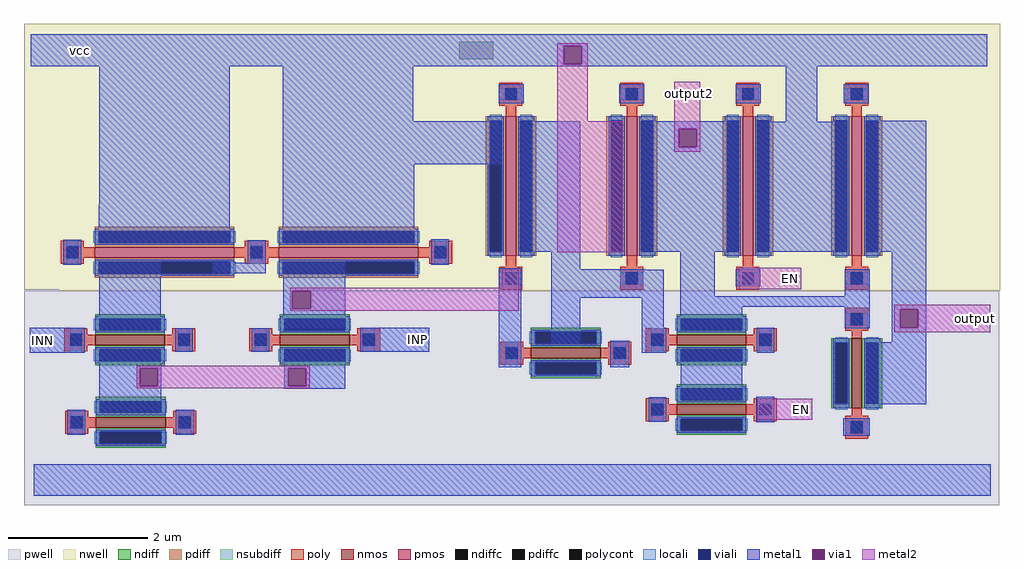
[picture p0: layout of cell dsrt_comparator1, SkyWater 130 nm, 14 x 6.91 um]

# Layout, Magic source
magic
tech sky130A
magscale 1 2
<< nwell >>
rect -136 -1106 2664 -342
rect -34 -1108 2664 -1106
<< pwell >>
rect -136 -1724 2662 -1108
<< nsubdiff >>
rect 1112 -444 1210 -394
<< metal1 >>
rect -116 -406 2628 -372
rect -116 -458 1412 -406
rect 1464 -458 2628 -406
rect -116 -464 2628 -458
rect 80 -862 454 -464
rect -24 -1034 28 -962
rect 78 -970 454 -862
rect 606 -622 980 -464
rect 1226 -570 1298 -516
rect 1572 -570 1644 -516
rect 1906 -570 1978 -516
rect 606 -746 1236 -622
rect -120 -1286 38 -1214
rect 80 -1220 256 -1026
rect 506 -1028 558 -964
rect 606 -970 984 -746
rect 606 -974 980 -970
rect 406 -1058 558 -1028
rect 608 -1108 786 -1026
rect 1032 -1034 1082 -960
rect 1288 -996 1460 -622
rect 1634 -644 1914 -622
rect 2050 -624 2140 -464
rect 2216 -570 2288 -516
rect 1634 -696 1742 -644
rect 1794 -696 1914 -644
rect 1634 -996 1914 -696
rect 1968 -996 2228 -624
rect 2282 -996 2452 -620
rect 608 -1160 634 -1108
rect 686 -1160 786 -1108
rect 80 -1330 258 -1274
rect 298 -1284 348 -1216
rect 518 -1284 568 -1216
rect 608 -1218 786 -1160
rect 80 -1382 196 -1330
rect 248 -1382 258 -1330
rect -12 -1522 40 -1450
rect 80 -1460 258 -1382
rect 610 -1330 786 -1278
rect 828 -1284 1026 -1214
rect 1226 -1328 1290 -1044
rect 1376 -1046 1460 -996
rect 1376 -1048 1646 -1046
rect 1376 -1128 1700 -1048
rect 1376 -1264 1460 -1128
rect 1636 -1214 1700 -1128
rect 1746 -1124 1846 -996
rect 1906 -1096 1976 -1046
rect 2218 -1124 2290 -1046
rect 1746 -1154 2290 -1124
rect 1546 -1328 1600 -1252
rect 1636 -1286 1706 -1214
rect 1746 -1222 1924 -1154
rect 610 -1382 622 -1330
rect 674 -1382 786 -1330
rect 610 -1390 786 -1382
rect 300 -1522 352 -1450
rect 1656 -1484 1706 -1414
rect 1748 -1422 1924 -1276
rect 1966 -1286 2016 -1214
rect 2218 -1216 2290 -1154
rect 2354 -1162 2452 -996
rect 2354 -1214 2378 -1162
rect 2430 -1214 2452 -1162
rect 2354 -1256 2452 -1214
rect 1964 -1486 2016 -1412
rect 2280 -1434 2452 -1256
rect 2214 -1524 2290 -1474
rect -108 -1696 2638 -1606
<< via1 >>
rect 1412 -458 1464 -406
rect 1742 -696 1794 -644
rect 634 -1160 686 -1108
rect 196 -1382 248 -1330
rect 622 -1382 674 -1330
rect 2378 -1214 2430 -1162
<< metal2 >>
rect 1394 -406 1482 -398
rect 1394 -458 1412 -406
rect 1464 -458 1482 -406
rect 1394 -622 1482 -458
rect 1394 -998 1582 -622
rect 1730 -644 1804 -508
rect 1730 -696 1742 -644
rect 1794 -696 1804 -644
rect 1730 -710 1804 -696
rect 1236 -1100 1284 -1048
rect 628 -1108 1284 -1100
rect 1914 -1104 2094 -1042
rect 628 -1160 634 -1108
rect 686 -1160 1284 -1108
rect 628 -1166 1284 -1160
rect 2360 -1162 2636 -1148
rect 2360 -1214 2378 -1162
rect 2430 -1214 2636 -1162
rect 2360 -1228 2636 -1214
rect 188 -1330 684 -1324
rect 188 -1382 196 -1330
rect 248 -1382 622 -1330
rect 674 -1382 684 -1330
rect 188 -1388 684 -1382
rect 1968 -1478 2126 -1418
use sky130_fd_pr__nfet_01v8_Y5M242  XM1
transform 0 1 168 -1 0 -1249
box -73 -188 73 188
use sky130_fd_pr__nfet_01v8_Y5M242  XM2
transform 0 1 698 -1 0 -1249
box -73 -188 73 188
use sky130_fd_pr__pfet_01v8_YR6QPW  XM3
transform 0 1 795 -1 0 -998
box -109 -300 109 300
use sky130_fd_pr__pfet_01v8_YR6QPW  XM4
transform 0 -1 267 1 0 -998
box -109 -300 109 300
use sky130_fd_pr__nfet_01v8_Y5M242  XM5
transform 0 1 170 1 0 -1486
box -73 -188 73 188
use sky130_fd_pr__pfet_01v8_YR6QPW  XM6
transform 1 0 1261 0 1 -808
box -109 -300 109 300
use sky130_fd_pr__nfet_01v8_Y5M242  XM7
transform 0 1 1418 -1 0 -1287
box -73 -188 73 188
use sky130_fd_pr__pfet_01v8_YR6QPW  XM8
transform 1 0 1608 0 1 -808
box -109 -300 109 300
use sky130_fd_pr__nfet_01v8_Y5M242  XM9
transform 0 1 1836 -1 0 -1249
box -73 -188 73 188
use sky130_fd_pr__pfet_01v8_YR6QPW  XM10
transform 1 0 2253 0 1 -808
box -109 -300 109 300
use sky130_fd_pr__nfet_01v8_Y5M242  XM11
transform 1 0 2253 0 1 -1345
box -73 -188 73 188
use sky130_fd_pr__pfet_01v8_YR6QPW  XM12
transform 1 0 1941 0 1 -808
box -109 -300 109 300
use sky130_fd_pr__nfet_01v8_Y5M242  XM13
transform 0 1 1836 -1 0 -1449
box -73 -188 73 188
<< labels >>
rlabel metal1 -110 -1276 -58 -1224 1 INN
port 1 n signal input
rlabel metal1 966 -1274 1018 -1222 1 INP
port 2 n signal input
rlabel metal1 0 -444 52 -392 1 vcc
port 3 n power bidirectional
rlabel metal2 2568 -1214 2620 -1162 1 output
port 4 n signal output
rlabel metal2 1746 -568 1798 -516 1 output2
port 5 n signal output
rlabel metal2 2036 -1100 2088 -1048 1 EN
port 6 n signal input
rlabel metal2 2068 -1474 2120 -1422 1 EN
port 6 n signal input
<< end >>

# cell sky130_fd_pr__nfet_01v8_Y5M242: kit device sky130_fd_pr__nfet_01v8, w 1.0 l 0.15 m 1 nf 1 diffcov 100 polycov 100 guard 0 glc 1 grc 1 gtc 1 gbc 1 tbcov 100 rlcov 100 topc 1 botc 1 poverlap 0 doverlap 1 lmin 0.15 wmin 0.42 class mosfet compatible {sky130_fd_pr__nfet_01v8 sky130_fd_pr__nfet_01v8_lvt sky130_fd_bs_flash__special_sonosfet_star sky130_fd_pr__nfet_g5v0d10v5 sky130_fd_pr__nfet_05v0_nvt sky130_fd_pr__nfet_03v3_nvt} full_metal 1 conn_gates 0 viasrc 100 viadrn 100 viagate 100 viagb 0 viagr 0 viagl 0 viagt 0 doports 1

# cell sky130_fd_pr__pfet_01v8_YR6QPW: kit device sky130_fd_pr__pfet_01v8, w 2.0 l 0.15 m 1 nf 1 diffcov 100 polycov 100 guard 0 glc 1 grc 1 gtc 1 gbc 1 tbcov 100 rlcov 100 topc 1 botc 1 poverlap 0 doverlap 1 lmin 0.15 wmin 0.42 class mosfet compatible {sky130_fd_pr__pfet_01v8 sky130_fd_pr__pfet_01v8_lvt sky130_fd_pr__pfet_01v8_hvt sky130_fd_pr__pfet_g5v0d10v5} full_metal 1 conn_gates 0 viasrc 100 viadrn 100 viagate 100 viagb 0 viagr 0 viagl 0 viagt 0 doports 1
